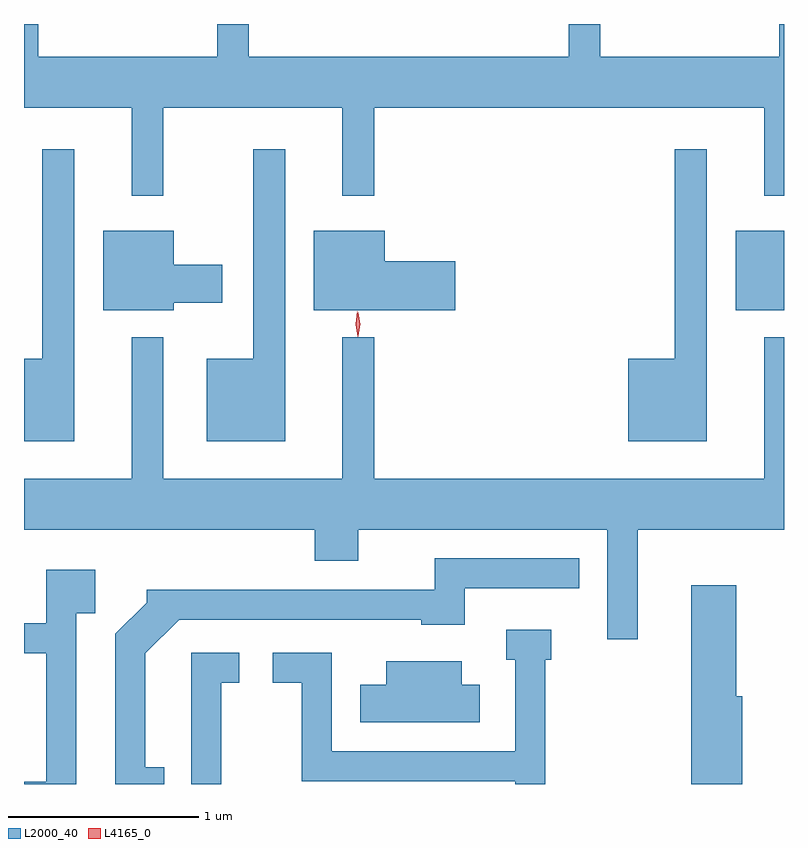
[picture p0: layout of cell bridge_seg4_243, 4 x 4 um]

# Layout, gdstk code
import gdstk
lib = gdstk.Library(unit=1e-6, precision=1e-09)
def R(c, l, rs):  # rectangles x0, y0, x1, y1
    for r in rs: c.add(gdstk.rectangle(r[:2], r[2:], *l))
def P(c, l, *ps):  # polygons
    for p in ps: c.add(gdstk.Polygon(p, *l))
L2000_40 = (2000, 40)
L4165_0 = (4165, 0)

bridge_seg4_243 = lib.new_cell('bridge_seg4_243')
R(bridge_seg4_243, L2000_40, [(733.121,1378.031,733.375,1378.449)])
P(bridge_seg4_243, L2000_40, [(729.375,1379.537),(729.375,1379.096),(729.941,1379.096),(729.941,1378.633),(730.109,1378.633),(730.109,1379.096),(731.051,1379.096),(731.051,1378.633),(731.219,1378.633),(731.219,1379.096),(733.271,1379.096),(733.271,1378.633),(733.375,1378.633),(733.375,1379.537),(733.351,1379.537),(733.351,1379.364),(732.409,1379.364),(732.409,1379.537),(732.241,1379.537),(732.241,1379.364),(730.559,1379.364),(730.559,1379.537),(730.391,1379.537),(730.391,1379.364),(729.449,1379.364),(729.449,1379.537)],
  [(729.639,1378.878),(729.471,1378.878),(729.471,1377.774),(729.375,1377.774),(729.375,1377.341),(729.639,1377.341)],
  [(732.969,1378.878),(732.801,1378.878),(732.801,1377.774),(732.556,1377.774),(732.556,1377.341),(732.969,1377.341)],
  [(730.749,1378.878),(730.581,1378.878),(730.581,1377.774),(730.336,1377.774),(730.336,1377.341),(730.749,1377.341)],
  [(730.164,1378.071),(730.419,1378.071),(730.419,1378.269),(730.164,1378.269),(730.164,1378.449),(729.791,1378.449),(729.791,1378.031),(730.164,1378.031)],
  [(731.644,1378.289),(731.274,1378.289),(731.274,1378.449),(730.901,1378.449),(730.901,1378.031),(731.644,1378.031)],
  [(730.906,1376.711),(731.134,1376.711),(731.134,1376.876),(732.446,1376.876),(732.446,1376.298),(732.604,1376.298),(732.604,1376.876),(733.375,1376.876),(733.375,1377.888),(733.271,1377.888),(733.271,1377.144),(731.219,1377.144),(731.219,1377.888),(731.051,1377.888),(731.051,1377.144),(730.109,1377.144),(730.109,1377.888),(729.941,1377.888),(729.941,1377.144),(729.375,1377.144),(729.375,1376.876),(730.906,1376.876)],
  [(730.113,1375.624),(730.014,1375.624),(730.014,1376.224),(730.192,1376.401),(731.466,1376.401),(731.466,1376.376),(731.694,1376.376),(731.694,1376.566),(732.298,1376.566),(732.298,1376.724),(731.536,1376.724),(731.536,1376.559),(730.021,1376.559),(730.021,1376.492),(729.856,1376.327),(729.856,1375.537),(730.113,1375.537)],
  [(729.649,1376.436),(729.749,1376.436),(729.749,1376.664),(729.491,1376.664),(729.491,1376.384),(729.375,1376.384),(729.375,1376.226),(729.491,1376.226),(729.491,1375.549),(729.375,1375.549),(729.375,1375.537),(729.649,1375.537)],
  [(733.154,1375.999),(733.124,1375.999),(733.124,1376.584),(732.886,1376.584),(732.886,1375.537),(733.154,1375.537)],
  [(732.119,1376.191),(732.149,1376.191),(732.149,1376.349),(731.913,1376.349),(731.913,1376.191),(731.961,1376.191),(731.961,1375.709),(730.994,1375.709),(730.994,1376.229),(730.683,1376.229),(730.683,1376.071),(730.836,1376.071),(730.836,1375.551),(731.961,1375.551),(731.961,1375.537),(732.119,1375.537)],
  [(730.414,1376.071),(730.508,1376.071),(730.508,1376.229),(730.256,1376.229),(730.256,1375.537),(730.414,1375.537)],
  [(731.774,1376.059),(731.679,1376.059),(731.679,1376.184),(731.281,1376.184),(731.281,1376.059),(731.146,1376.059),(731.146,1375.861),(731.774,1375.861)])
P(bridge_seg4_243, L4165_0, [(731.131,1377.89),(731.131,1377.89),(731.121,1377.958),(731.129,1378.025),(731.13,1378.026),(731.13,1378.025),(731.14,1377.958),(731.132,1377.89)],
  [(731.135,1377.893),(731.134,1377.894),(731.125,1377.956),(731.134,1378.02),(731.134,1378.02),(731.135,1378.02),(731.145,1377.956),(731.135,1377.894)])

lib.write_gds('bridge_seg4_243.gds')
